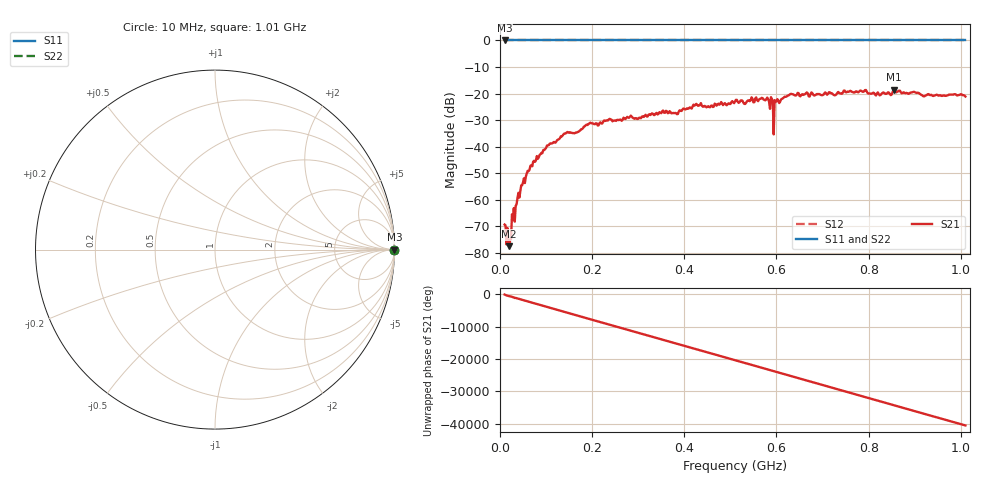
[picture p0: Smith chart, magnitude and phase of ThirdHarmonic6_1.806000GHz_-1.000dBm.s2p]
! 8/16/2025 9:52:21 PM
! C:\ANRITSUVNA\TEMP\TEMP.S2P
! CHANNEL.1
! TR.MEASUREMENT
! RAW.DATA
! RF.CORRECTION.OFF
! AVERAGING.OFF
! IF.BANDWIDTH: 5KHZ
! SWEEPTYPE:  FREQ.SWEEP(Linear)
! Reference Plane Port Info
! PORT:  PORT1  PORT2
! DISTANCE:  0  m  0  m
! TIME:  0  s  0  s
! PHASE.OFFSET:  0  deg.  0  deg.
! LOSS:  0  dB  0  dB
! REF.LOSS:  0  dB  0  dB
! REF.FREQ:  0  Hz  0  Hz
! Power Info
! POWER:  -20  dBm  -20  dBm
! EFF.POWER:  -20  dBm  -20  dBm
! SOURCE.ATTEN:  0  dB  0  dB
! TEST.ATTEN:  0  dB  0  dB
# GHZ S RI R 50.0
! FREQ.GHZ  S11RE  S11IM  S21RE  S21IM  S12RE  S12IM  S22RE  S22IM
!; PortSelection: Port_12
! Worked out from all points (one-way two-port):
!   501 points, 10 MHz to 1.01 GHz, reference 50 ohm
!   highest |S21| = -18.55 dB at 854 MHz (marker M1); lowest = -77.4 dB at 20 MHz (marker M2)
!   lowest |S11| = 0.0 dB at 10 MHz (marker M3)
!   |S11| at or under -10 dB: nowhere
!   |S22| runs from 0.0 to 0.0 dB; largest |S21 - S12| = 1.1
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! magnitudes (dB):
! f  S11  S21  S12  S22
! 10 MHz  0.0  -69.3  0.0  0.0
! 18 MHz  0.0  -75.1  0.0  0.0
! 20 MHz  0.0  -77.4  0.0  0.0
! 30 MHz  0.0  -63.1  0.0  0.0
! 42 MHz  0.0  -59.2  0.0  0.0
! 70 MHz  0.0  -47.4  0.0  0.0
! 106 MHz  0.0  -39.4  0.0  0.0
! 142 MHz  0.0  -35.0  0.0  0.0
! 178 MHz  0.0  -33.4  0.0  0.0
! 196 MHz  0.0  -31.0  0.0  0.0
! 344 MHz  0.0  -27.6  0.0  0.0
! 510 MHz  0.0  -23.0  0.0  0.0
! 578 MHz  0.0  -22.1  0.0  0.0
! 588 MHz  0.0  -21.3  0.0  0.0
! 590 MHz  0.0  -22.0  0.0  0.0
! 598 MHz  0.0  -23.1  0.0  0.0
! 600 MHz  0.0  -22.9  0.0  0.0
! 628 MHz  0.0  -20.5  0.0  0.0
! 678 MHz  0.0  -19.9  0.0  0.0
! 844 MHz  0.0  -19.6  0.0  0.0
! 854 MHz  0.0  -18.6  0.0  0.0
! 1.01 GHz  0.0  -21.1  0.0  0.0
